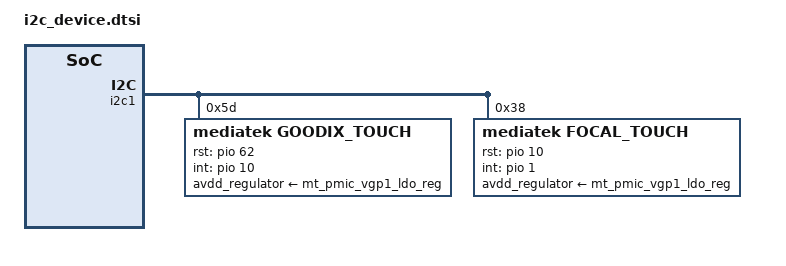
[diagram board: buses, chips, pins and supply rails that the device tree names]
/*

 */

/*************************
 * I2C dtsi file
*************************/
&i2c1 {
	goodix_touch@5d {
		compatible = "mediatek,goodix_touch";
		reg = <0x5d>;
		rst-gpio = <&pio 62 0>;
		int-gpio = <&pio 10 0>;
		interrupt-parent = <&eintc>;
		interrupts = <1 2>;
		debounce = <10 0>;
		avdd_regulator-supply = <&mt_pmic_vgp1_ldo_reg>;
	};

	focal_touch@38 {
		compatible = "mediatek,focal_touch";
		reg = <0x38>;
		rst-gpio = <&pio 10 0>;
		int-gpio = <&pio 1 0>;
		interrupt-parent = <&eintc>;
		interrupts = <1 2>;
		debounce = <10 0>;
		avdd_regulator-supply = <&mt_pmic_vgp1_ldo_reg>;
	};
};

